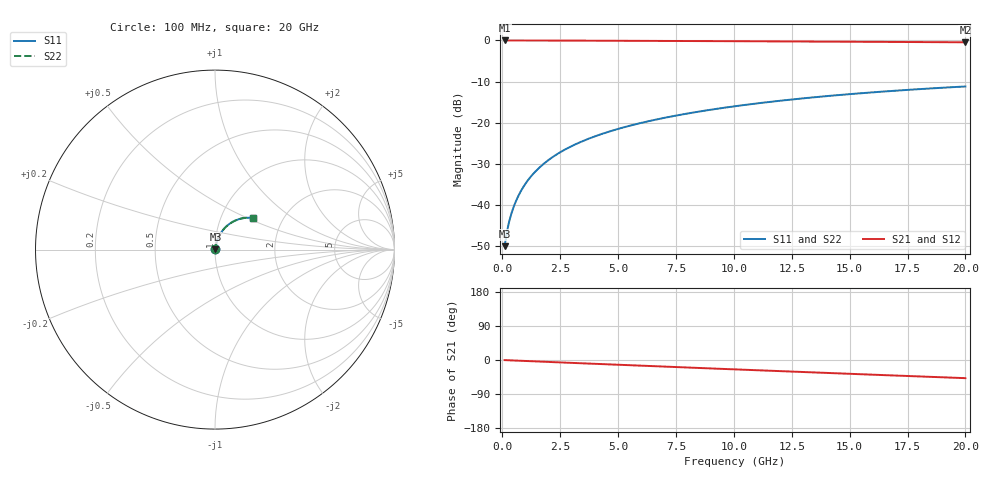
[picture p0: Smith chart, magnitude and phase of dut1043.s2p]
! Touchstone file exported from HFSS 2026.1.0
!  File:  C:/ffzhzh/LocalFiles/Ansys_Project_Files/temp_train_TMRDL_1043_1783160242_18472.aedt
!  Generated:  06:18:45 PM Jul  4, 2026
!  Design:  TMRDL
!  Project:  temp_train_TMRDL_1043_1783160242_18472
! Variables:
!  h_bsmrdl = 2um
!  h_ox = 20um
!  h_rdl = 5um
!  h_sub = 80um
!  h_tmrdl = 5.41um
!  h_tsv = 80um
!  h_via = 3um
!  l_bsmrdl = 300um
!  l_sub = 1200.58um
!  l_tmrdl = 800.58um
!  m_sub = 200um
!  pitch = 40.2um
!  r_tsv = 6um
!  s_tmrdl = 10um
!  w_bsmrdl = 18um
!  w_sub = 500um
!  w_tmrdl = 24.36um
!  x_tsv_center1 = 812.76um
!  x_tsv_center2 = 1130.76um
!  x_tsv_center3 = 1955.7um
!  x_tsv_center4 = 2273.7um
!  x_tsv_center5 = 3098.64um
!  x_tsv_center6 = 3416.64um
# GHz S MA R 50.000000
! Terminal data exported
! Port[1] = TM_RDL1_1_T1
! Port[2] = TM_RDL1_1_T2
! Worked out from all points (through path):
!   200 points, 100 MHz to 20 GHz, reference 50 ohm
!   highest |S21| = -0.02 dB at 100 MHz (marker M1); lowest = -0.5 dB at 20 GHz (marker M2)
!   group delay of S21, straight-line fit = 6.64 ps
!   lowest |S11| = -49.9 dB at 100 MHz (marker M3), VSWR 1.01, Z = 50.2 + j0.21 ohm
!   |S11| at or under -10 dB: start of sweep to end of sweep
!   |S22| runs from -49.9 to -11.2 dB; largest |S21 - S12| = 1.5e-14
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0.1  0.003183 41.0  0.9976 -0.3  0.9976 -0.3  0.003183 41.0
! Gamma 0 0 0 0
! Port Impedance 50 0 50 0
0.2  0.004778 55.9  0.9974 -0.5  0.9974 -0.5  0.004778 55.9
0.3  0.006399 63.0  0.9972 -0.8  0.9972 -0.8  0.006399 63.0
0.4  0.008033 67.5  0.9971 -1.0  0.9971 -1.0  0.008033 67.5
0.5  0.009691 70.5  0.997 -1.3  0.997 -1.3  0.009691 70.5
0.6  0.01137 72.6  0.9969 -1.6  0.9969 -1.6  0.01137 72.6
0.8  0.01478 75.3  0.9967 -2.1  0.9967 -2.1  0.01478 75.3
1.1  0.01995 77.3  0.9964 -2.8  0.9964 -2.8  0.01995 77.3
1.3  0.0234 77.9  0.9962 -3.3  0.9962 -3.3  0.0234 77.9
1.6  0.02858 78.2  0.9958 -4.1  0.9958 -4.1  0.02858 78.2
2.1  0.03712 78.0  0.9951 -5.4  0.9951 -5.4  0.03712 78.0
2.7  0.04721 77.2  0.994 -6.9  0.994 -6.9  0.04722 77.2
3.5  0.06038 75.7  0.9925 -8.9  0.9925 -8.9  0.06038 75.7
4.2  0.07165 74.3  0.991 -10.6  0.991 -10.6  0.07165 74.3
5  0.08427 72.6  0.9893 -12.6  0.9893 -12.6  0.08427 72.6
5.9  0.09818 70.6  0.9873 -14.8  0.9873 -14.8  0.09819 70.6
6.8  0.1118 68.7  0.9852 -17.0  0.9852 -17.0  0.1118 68.7
8.3  0.134 65.4  0.9816 -20.6  0.9816 -20.6  0.134 65.4
10.1  0.1595 61.4  0.9769 -24.9  0.9769 -24.9  0.1595 61.4
13.4  0.2031 54.1  0.9676 -32.7  0.9676 -32.7  0.2032 54.1
16.7  0.2421 46.8  0.9577 -40.4  0.9577 -40.4  0.2421 46.8
20  0.2759 39.5  0.948 -47.9  0.948 -47.9  0.276 39.5
